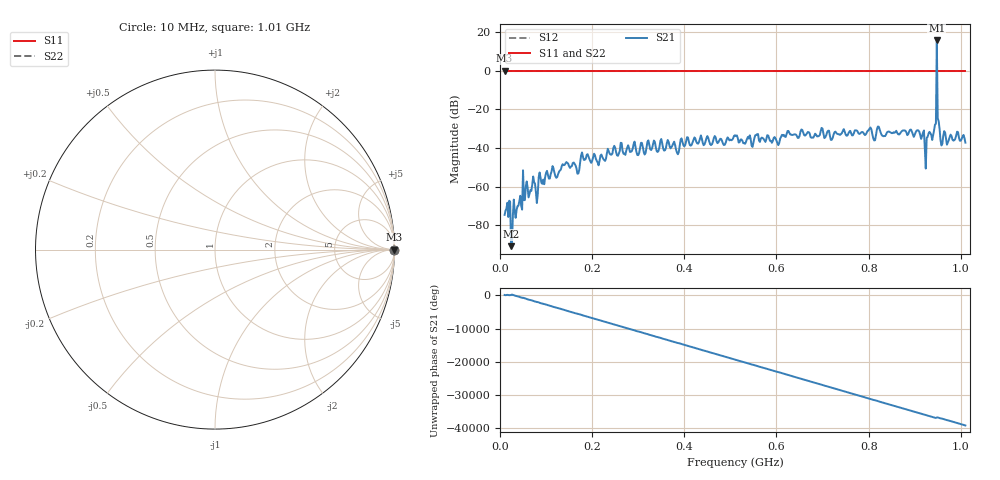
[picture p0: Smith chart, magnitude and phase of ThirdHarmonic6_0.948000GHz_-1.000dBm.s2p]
! 8/16/2025 6:48:30 AM
! C:\ANRITSUVNA\TEMP\TEMP.S2P
! CHANNEL.1
! TR.MEASUREMENT
! RAW.DATA
! RF.CORRECTION.OFF
! AVERAGING.OFF
! IF.BANDWIDTH: 5KHZ
! SWEEPTYPE:  FREQ.SWEEP(Linear)
! Reference Plane Port Info
! PORT:  PORT1  PORT2
! DISTANCE:  0  m  0  m
! TIME:  0  s  0  s
! PHASE.OFFSET:  0  deg.  0  deg.
! LOSS:  0  dB  0  dB
! REF.LOSS:  0  dB  0  dB
! REF.FREQ:  0  Hz  0  Hz
! Power Info
! POWER:  -20  dBm  -20  dBm
! EFF.POWER:  -20  dBm  -20  dBm
! SOURCE.ATTEN:  0  dB  0  dB
! TEST.ATTEN:  0  dB  0  dB
# GHZ S RI R 50.0
! FREQ.GHZ  S11RE  S11IM  S21RE  S21IM  S12RE  S12IM  S22RE  S22IM
!; PortSelection: Port_12
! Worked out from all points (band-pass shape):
!   501 points, 10 MHz to 1.01 GHz, reference 50 ohm
!   highest |S21| = 15.63 dB at 948 MHz (marker M1); lowest = -90.7 dB at 24 MHz (marker M2)
!   |S21| within 3 dB of the highest: 947.8605 MHz to 948.1488 MHz (288.3 kHz wide, 0.0304 % of centre)
!   lowest |S11| = 0.0 dB at 10 MHz (marker M3)
!   |S11| at or under -10 dB: nowhere
!   |S22| runs from 0.0 to 0.0 dB; largest |S21 - S12| = 5.3
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0.01  1 0  -0.000161 9.64e-05  1 0  1 0
0.024  1 0  -1.66e-05 2.4e-05  1 0  1 0
0.044  1 0  -0.000583 -5.13e-05  1 0  1 0
0.054  1 0  -0.000326 -0.000315  1 0  1 0
0.078  1 0  0.00021 -0.000689  1 0  1 0
0.088  1 0  -0.00162 -0.000532  1 0  1 0
0.14  1 0  0.00151 -0.00333  1 0  1 0
0.168  1 0  -0.00146 -0.00161  1 0  1 0
0.178  1 0  -0.00723 -0.00261  1 0  1 0
0.344  1 0  0.00811 -0.00226  1 0  1 0
0.51  1 0  -0.0094 0.0192  1 0  1 0
0.678  1 0  -0.0186 0.000101  1 0  1 0
0.844  1 0  0.0193 -0.0187  1 0  1 0
0.906  1 0  0.0246 -0.0155  1 0  1 0
0.926  1 0  -0.0112 -0.0148  1 0  1 0
0.942  1 0  0.0277 -0.00773  1 0  1 0
0.944  1 0  -0.0107 -0.0389  1 0  1 0
0.948  1 0  4.909 -3.526  1 0  1 0
0.952  1 0  -0.0364 -0.0336  1 0  1 0
0.954  1 0  -0.0165 0.0263  1 0  1 0
0.96  1 0  0.00842 -0.00978  1 0  1 0
1.01  1 0  0.00382 0.0133  1 0  1 0
